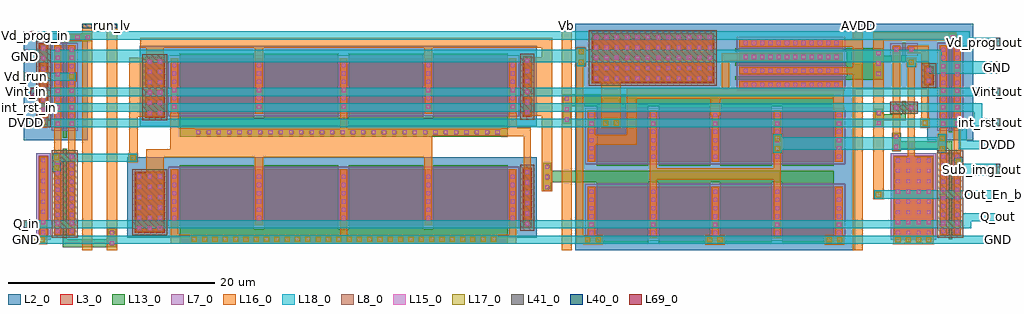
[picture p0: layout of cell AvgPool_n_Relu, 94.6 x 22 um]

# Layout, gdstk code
from math import pi, radians
import gdstk
lib = gdstk.Library(unit=1e-6, precision=1e-09)
def R(c, l, rs):  # rectangles x0, y0, x1, y1
    for r in rs: c.add(gdstk.rectangle(r[:2], r[2:], *l))
def A(c, l, x, y, w, h, nx, ny, dx, dy):  # array of equal rectangles
    R(c, l, [(x+i*dx, y+j*dy, x+i*dx+w, y+j*dy+h) for i in range(nx) for j in range(ny)])
L2_0 = (2, 0)
L3_0 = (3, 0)
L7_0 = (7, 0)
L8_0 = (8, 0)
L13_0 = (13, 0)
L15_0 = (15, 0)
L16_0 = (16, 0)
L17_0 = (17, 0)
L18_0 = (18, 0)
L40_0 = (40, 0)
L41_0 = (41, 0)
L69_0 = (69, 0)

pch_cdns_761096720690 = lib.new_cell('pch_CDNS_761096720690')
R(pch_cdns_761096720690, L2_0, [(-2.05,-1.2,2.4,9.2)])
R(pch_cdns_761096720690, L3_0, [(-0.85,0,-0.15,8), (-0.85,0,-0.15,8), (-0.15,0,0.5,8), (0.5,0,1.2,8), (0.5,0,1.2,8)])
R(pch_cdns_761096720690, L7_0, [(-1.1,-0.25,1.45,8.25)])
R(pch_cdns_761096720690, L13_0, [(0,-0.4,0.35,8.4)])
A(pch_cdns_761096720690, L15_0, -0.7, 0.2, 0.4, 0.4, 1, 10, 0, 0.8)
A(pch_cdns_761096720690, L15_0, 0.65, 0.2, 0.4, 0.4, 1, 10, 0, 0.8)
R(pch_cdns_761096720690, L16_0, [(-0.85,0,-0.15,8), (0.5,0,1.2,8)])
pch_cdns_761096720690.add(gdstk.Label('D', (0.85,4), layer=59, texttype=0))
pch_cdns_761096720690.add(gdstk.Label('S', (-0.5,4), layer=59, texttype=0))
pch_cdns_761096720690.add(gdstk.Label('G', (0.175,4), layer=59, texttype=0))
pch_cdns_761096720690.add(gdstk.Label('& SerialNumber 000000', (0,0), layer=16, texttype=0))
pch_cdns_761096720690.add(gdstk.Label('& Distributor VIS', (0,0), layer=16, texttype=0))
pch_cdns_761096720690.add(gdstk.Label('& Metric 1', (0,0), layer=16, texttype=0))
pch_cdns_761096720690.add(gdstk.Label('& Version    \t  1.7A', (0,0), layer=16, texttype=0))
pch_cdns_761096720690.add(gdstk.Label('& PDKName     vis35cv', (0,0), layer=16, texttype=0))
pch_cdns_761096720690.add(gdstk.Label('& Vendor VIS Corp.', (0,0), layer=16, texttype=0))
pch_cdns_761096720690.add(gdstk.Label('& SerialNumber 000000', (0,0), layer=63, texttype=63))
pch_cdns_761096720690.add(gdstk.Label('& Distributor VIS', (0,0), layer=63, texttype=63))
pch_cdns_761096720690.add(gdstk.Label('& Metric 1', (0,0), layer=63, texttype=63))
pch_cdns_761096720690.add(gdstk.Label('& Version    \t  1.7A', (0,0), layer=63, texttype=63))
pch_cdns_761096720690.add(gdstk.Label('& PDKName     vis35cv', (0,0), layer=63, texttype=63))
pch_cdns_761096720690.add(gdstk.Label('& Vendor VIS Corp.', (0,0), layer=63, texttype=63))

nch_cdns_761096720691 = lib.new_cell('nch_CDNS_761096720691')
R(nch_cdns_761096720691, L3_0, [(-0.9,-0.12,-0.2,0.58), (0.55,-0.12,1.25,0.58), (-0.9,0,-0.2,0.46), (-0.2,0,0.55,0.46), (0.55,0,1.25,0.46)])
R(nch_cdns_761096720691, L8_0, [(-1.15,-0.37,1.5,0.83)])
R(nch_cdns_761096720691, L13_0, [(0,-0.4,0.35,0.86)])
R(nch_cdns_761096720691, L15_0, [(-0.75,0.03,-0.35,0.43), (0.7,0.03,1.1,0.43)])
R(nch_cdns_761096720691, L16_0, [(-0.9,-0.12,-0.2,0.58), (0.55,-0.12,1.25,0.58)])
nch_cdns_761096720691.add(gdstk.Label('D', (0.9,0.23), layer=59, texttype=0))
nch_cdns_761096720691.add(gdstk.Label('S', (-0.55,0.23), layer=59, texttype=0))
nch_cdns_761096720691.add(gdstk.Label('G', (0.175,0.23), layer=59, texttype=0))
nch_cdns_761096720691.add(gdstk.Label('& SerialNumber 000000', (0,0), layer=16, texttype=0))
nch_cdns_761096720691.add(gdstk.Label('& Distributor VIS', (0,0), layer=16, texttype=0))
nch_cdns_761096720691.add(gdstk.Label('& Metric 1', (0,0), layer=16, texttype=0))
nch_cdns_761096720691.add(gdstk.Label('& Version    \t  1.7A', (0,0), layer=16, texttype=0))
nch_cdns_761096720691.add(gdstk.Label('& PDKName     vis35cv', (0,0), layer=16, texttype=0))
nch_cdns_761096720691.add(gdstk.Label('& Vendor VIS Corp.', (0,0), layer=16, texttype=0))
nch_cdns_761096720691.add(gdstk.Label('& SerialNumber 000000', (0,0), layer=63, texttype=63))
nch_cdns_761096720691.add(gdstk.Label('& Distributor VIS', (0,0), layer=63, texttype=63))
nch_cdns_761096720691.add(gdstk.Label('& Metric 1', (0,0), layer=63, texttype=63))
nch_cdns_761096720691.add(gdstk.Label('& Version    \t  1.7A', (0,0), layer=63, texttype=63))
nch_cdns_761096720691.add(gdstk.Label('& PDKName     vis35cv', (0,0), layer=63, texttype=63))
nch_cdns_761096720691.add(gdstk.Label('& Vendor VIS Corp.', (0,0), layer=63, texttype=63))

pch_cdns_761096720692 = lib.new_cell('pch_CDNS_761096720692')
R(pch_cdns_761096720692, L2_0, [(-2.05,-1.2,5.1,11.2)])
A(pch_cdns_761096720692, L3_0, -0.85, 0, 0.7, 10, 4, 1, 1.35, 0)
A(pch_cdns_761096720692, L3_0, -0.15, 0, 0.65, 10, 3, 1, 1.35, 0)
R(pch_cdns_761096720692, L3_0, [(-0.85,0,-0.15,10), (3.2,0,3.9,10)])
R(pch_cdns_761096720692, L7_0, [(-1.1,-0.25,4.15,10.25)])
A(pch_cdns_761096720692, L13_0, 0, -0.4, 0.35, 10.8, 3, 1, 1.35, 0)
A(pch_cdns_761096720692, L15_0, -0.7, 0.4, 0.4, 0.4, 4, 12, 1.35, 0.8)
A(pch_cdns_761096720692, L16_0, -0.85, 0, 0.7, 10, 4, 1, 1.35, 0)
pch_cdns_761096720692.add(gdstk.Label('D', (0.85,5), layer=59, texttype=0))
pch_cdns_761096720692.add(gdstk.Label('D', (3.55,5), layer=59, texttype=0))
pch_cdns_761096720692.add(gdstk.Label('S', (2.2,5), layer=59, texttype=0))
pch_cdns_761096720692.add(gdstk.Label('S', (-0.5,5), layer=59, texttype=0))
pch_cdns_761096720692.add(gdstk.Label('G', (2.875,5), layer=59, texttype=0))
pch_cdns_761096720692.add(gdstk.Label('G', (1.525,5), layer=59, texttype=0))
pch_cdns_761096720692.add(gdstk.Label('G', (0.175,5), layer=59, texttype=0))
pch_cdns_761096720692.add(gdstk.Label('& SerialNumber 000000', (0,0), layer=16, texttype=0))
pch_cdns_761096720692.add(gdstk.Label('& Distributor VIS', (0,0), layer=16, texttype=0))
pch_cdns_761096720692.add(gdstk.Label('& Metric 1', (0,0), layer=16, texttype=0))
pch_cdns_761096720692.add(gdstk.Label('& Version    \t  1.7A', (0,0), layer=16, texttype=0))
pch_cdns_761096720692.add(gdstk.Label('& PDKName     vis35cv', (0,0), layer=16, texttype=0))
pch_cdns_761096720692.add(gdstk.Label('& Vendor VIS Corp.', (0,0), layer=16, texttype=0))
pch_cdns_761096720692.add(gdstk.Label('& SerialNumber 000000', (0,0), layer=63, texttype=63))
pch_cdns_761096720692.add(gdstk.Label('& Distributor VIS', (0,0), layer=63, texttype=63))
pch_cdns_761096720692.add(gdstk.Label('& Metric 1', (0,0), layer=63, texttype=63))
pch_cdns_761096720692.add(gdstk.Label('& Version    \t  1.7A', (0,0), layer=63, texttype=63))
pch_cdns_761096720692.add(gdstk.Label('& PDKName     vis35cv', (0,0), layer=63, texttype=63))
pch_cdns_761096720692.add(gdstk.Label('& Vendor VIS Corp.', (0,0), layer=63, texttype=63))

pch_cdns_761096720693 = lib.new_cell('pch_CDNS_761096720693')
R(pch_cdns_761096720693, L2_0, [(-2.05,-1.2,25.05,6.2)])
A(pch_cdns_761096720693, L3_0, -0.85, 0, 0.7, 5, 5, 1, 6, 0)
A(pch_cdns_761096720693, L3_0, -0.15, 0, 5.3, 5, 4, 1, 6, 0)
R(pch_cdns_761096720693, L3_0, [(-0.85,0,-0.15,5), (23.15,0,23.85,5)])
R(pch_cdns_761096720693, L7_0, [(-1.1,-0.25,24.1,5.25)])
A(pch_cdns_761096720693, L13_0, 0, -0.4, 5, 5.8, 4, 1, 6, 0)
A(pch_cdns_761096720693, L15_0, -0.7, 0.3, 0.4, 0.4, 5, 6, 6, 0.8)
A(pch_cdns_761096720693, L16_0, -0.85, 0, 0.7, 5, 5, 1, 6, 0)
pch_cdns_761096720693.add(gdstk.Label('D', (17.5,2.5), layer=59, texttype=0))
pch_cdns_761096720693.add(gdstk.Label('D', (5.5,2.5), layer=59, texttype=0))
pch_cdns_761096720693.add(gdstk.Label('S', (11.5,2.5), layer=59, texttype=0))
pch_cdns_761096720693.add(gdstk.Label('S', (-0.5,2.5), layer=59, texttype=0))
pch_cdns_761096720693.add(gdstk.Label('S', (23.5,2.5), layer=59, texttype=0))
pch_cdns_761096720693.add(gdstk.Label('G', (20.5,2.5), layer=59, texttype=0))
pch_cdns_761096720693.add(gdstk.Label('G', (14.5,2.5), layer=59, texttype=0))
pch_cdns_761096720693.add(gdstk.Label('G', (8.5,2.5), layer=59, texttype=0))
pch_cdns_761096720693.add(gdstk.Label('G', (2.5,2.5), layer=59, texttype=0))
pch_cdns_761096720693.add(gdstk.Label('& SerialNumber 000000', (0,0), layer=16, texttype=0))
pch_cdns_761096720693.add(gdstk.Label('& Distributor VIS', (0,0), layer=16, texttype=0))
pch_cdns_761096720693.add(gdstk.Label('& Metric 1', (0,0), layer=16, texttype=0))
pch_cdns_761096720693.add(gdstk.Label('& Version    \t  1.7A', (0,0), layer=16, texttype=0))
pch_cdns_761096720693.add(gdstk.Label('& PDKName     vis35cv', (0,0), layer=16, texttype=0))
pch_cdns_761096720693.add(gdstk.Label('& Vendor VIS Corp.', (0,0), layer=16, texttype=0))
pch_cdns_761096720693.add(gdstk.Label('& SerialNumber 000000', (0,0), layer=63, texttype=63))
pch_cdns_761096720693.add(gdstk.Label('& Distributor VIS', (0,0), layer=63, texttype=63))
pch_cdns_761096720693.add(gdstk.Label('& Metric 1', (0,0), layer=63, texttype=63))
pch_cdns_761096720693.add(gdstk.Label('& Version    \t  1.7A', (0,0), layer=63, texttype=63))
pch_cdns_761096720693.add(gdstk.Label('& PDKName     vis35cv', (0,0), layer=63, texttype=63))
pch_cdns_761096720693.add(gdstk.Label('& Vendor VIS Corp.', (0,0), layer=63, texttype=63))

pch_cdns_761096720694 = lib.new_cell('pch_CDNS_761096720694')
R(pch_cdns_761096720694, L2_0, [(-2.1,-1.32,2.45,1.78)])
R(pch_cdns_761096720694, L3_0, [(-0.9,-0.12,-0.2,0.58), (0.55,-0.12,1.25,0.58), (-0.9,0,-0.2,0.46), (-0.2,0,0.55,0.46), (0.55,0,1.25,0.46)])
R(pch_cdns_761096720694, L7_0, [(-1.15,-0.37,1.5,0.83)])
R(pch_cdns_761096720694, L13_0, [(0,-0.4,0.35,0.86)])
R(pch_cdns_761096720694, L15_0, [(-0.75,0.03,-0.35,0.43), (0.7,0.03,1.1,0.43)])
R(pch_cdns_761096720694, L16_0, [(-0.9,-0.12,-0.2,0.58), (0.55,-0.12,1.25,0.58)])
pch_cdns_761096720694.add(gdstk.Label('D', (0.9,0.23), layer=59, texttype=0))
pch_cdns_761096720694.add(gdstk.Label('S', (-0.55,0.23), layer=59, texttype=0))
pch_cdns_761096720694.add(gdstk.Label('G', (0.175,0.23), layer=59, texttype=0))
pch_cdns_761096720694.add(gdstk.Label('& SerialNumber 000000', (0,0), layer=16, texttype=0))
pch_cdns_761096720694.add(gdstk.Label('& Distributor VIS', (0,0), layer=16, texttype=0))
pch_cdns_761096720694.add(gdstk.Label('& Metric 1', (0,0), layer=16, texttype=0))
pch_cdns_761096720694.add(gdstk.Label('& Version    \t  1.7A', (0,0), layer=16, texttype=0))
pch_cdns_761096720694.add(gdstk.Label('& PDKName     vis35cv', (0,0), layer=16, texttype=0))
pch_cdns_761096720694.add(gdstk.Label('& Vendor VIS Corp.', (0,0), layer=16, texttype=0))
pch_cdns_761096720694.add(gdstk.Label('& SerialNumber 000000', (0,0), layer=63, texttype=63))
pch_cdns_761096720694.add(gdstk.Label('& Distributor VIS', (0,0), layer=63, texttype=63))
pch_cdns_761096720694.add(gdstk.Label('& Metric 1', (0,0), layer=63, texttype=63))
pch_cdns_761096720694.add(gdstk.Label('& Version    \t  1.7A', (0,0), layer=63, texttype=63))
pch_cdns_761096720694.add(gdstk.Label('& PDKName     vis35cv', (0,0), layer=63, texttype=63))
pch_cdns_761096720694.add(gdstk.Label('& Vendor VIS Corp.', (0,0), layer=63, texttype=63))

nch_cdns_761096720695 = lib.new_cell('nch_CDNS_761096720695')
R(nch_cdns_761096720695, L3_0, [(-0.85,0,-0.15,8), (-0.85,0,-0.15,8), (-0.15,0,0.5,8), (0.5,0,1.2,8), (0.5,0,1.2,8)])
R(nch_cdns_761096720695, L8_0, [(-1.1,-0.25,1.45,8.25)])
R(nch_cdns_761096720695, L13_0, [(0,-0.4,0.35,8.4)])
A(nch_cdns_761096720695, L15_0, -0.7, 0.2, 0.4, 0.4, 1, 10, 0, 0.8)
A(nch_cdns_761096720695, L15_0, 0.65, 0.2, 0.4, 0.4, 1, 10, 0, 0.8)
R(nch_cdns_761096720695, L16_0, [(-0.85,0,-0.15,8), (0.5,0,1.2,8)])
nch_cdns_761096720695.add(gdstk.Label('D', (0.85,4), layer=59, texttype=0))
nch_cdns_761096720695.add(gdstk.Label('S', (-0.5,4), layer=59, texttype=0))
nch_cdns_761096720695.add(gdstk.Label('G', (0.175,4), layer=59, texttype=0))
nch_cdns_761096720695.add(gdstk.Label('& SerialNumber 000000', (0,0), layer=16, texttype=0))
nch_cdns_761096720695.add(gdstk.Label('& Distributor VIS', (0,0), layer=16, texttype=0))
nch_cdns_761096720695.add(gdstk.Label('& Metric 1', (0,0), layer=16, texttype=0))
nch_cdns_761096720695.add(gdstk.Label('& Version    \t  1.7A', (0,0), layer=16, texttype=0))
nch_cdns_761096720695.add(gdstk.Label('& PDKName     vis35cv', (0,0), layer=16, texttype=0))
nch_cdns_761096720695.add(gdstk.Label('& Vendor VIS Corp.', (0,0), layer=16, texttype=0))
nch_cdns_761096720695.add(gdstk.Label('& SerialNumber 000000', (0,0), layer=63, texttype=63))
nch_cdns_761096720695.add(gdstk.Label('& Distributor VIS', (0,0), layer=63, texttype=63))
nch_cdns_761096720695.add(gdstk.Label('& Metric 1', (0,0), layer=63, texttype=63))
nch_cdns_761096720695.add(gdstk.Label('& Version    \t  1.7A', (0,0), layer=63, texttype=63))
nch_cdns_761096720695.add(gdstk.Label('& PDKName     vis35cv', (0,0), layer=63, texttype=63))
nch_cdns_761096720695.add(gdstk.Label('& Vendor VIS Corp.', (0,0), layer=63, texttype=63))

pch_cdns_761096720696 = lib.new_cell('pch_CDNS_761096720696')
R(pch_cdns_761096720696, L2_0, [(-2.05,-1.2,33.85,6.6)])
A(pch_cdns_761096720696, L3_0, -0.85, 0, 0.7, 5.4, 5, 1, 8.2, 0)
A(pch_cdns_761096720696, L3_0, -0.15, 0, 7.5, 5.4, 4, 1, 8.2, 0)
R(pch_cdns_761096720696, L3_0, [(-0.85,0,-0.15,5.4), (31.95,0,32.65,5.4)])
R(pch_cdns_761096720696, L7_0, [(-1.1,-0.25,32.9,5.65)])
A(pch_cdns_761096720696, L13_0, 0, -0.4, 7.2, 6.2, 4, 1, 8.2, 0)
A(pch_cdns_761096720696, L15_0, -0.7, 0.5, 0.4, 0.4, 5, 6, 8.2, 0.8)
A(pch_cdns_761096720696, L16_0, -0.85, 0, 0.7, 5.4, 5, 1, 8.2, 0)
pch_cdns_761096720696.add(gdstk.Label('D', (24.1,2.7), layer=59, texttype=0))
pch_cdns_761096720696.add(gdstk.Label('D', (7.7,2.7), layer=59, texttype=0))
pch_cdns_761096720696.add(gdstk.Label('S', (15.9,2.7), layer=59, texttype=0))
pch_cdns_761096720696.add(gdstk.Label('S', (-0.5,2.7), layer=59, texttype=0))
pch_cdns_761096720696.add(gdstk.Label('S', (32.3,2.7), layer=59, texttype=0))
pch_cdns_761096720696.add(gdstk.Label('G', (28.2,2.7), layer=59, texttype=0))
pch_cdns_761096720696.add(gdstk.Label('G', (20,2.7), layer=59, texttype=0))
pch_cdns_761096720696.add(gdstk.Label('G', (11.8,2.7), layer=59, texttype=0))
pch_cdns_761096720696.add(gdstk.Label('G', (3.6,2.7), layer=59, texttype=0))
pch_cdns_761096720696.add(gdstk.Label('& SerialNumber 000000', (0,0), layer=16, texttype=0))
pch_cdns_761096720696.add(gdstk.Label('& Distributor VIS', (0,0), layer=16, texttype=0))
pch_cdns_761096720696.add(gdstk.Label('& Metric 1', (0,0), layer=16, texttype=0))
pch_cdns_761096720696.add(gdstk.Label('& Version    \t  1.7A', (0,0), layer=16, texttype=0))
pch_cdns_761096720696.add(gdstk.Label('& PDKName     vis35cv', (0,0), layer=16, texttype=0))
pch_cdns_761096720696.add(gdstk.Label('& Vendor VIS Corp.', (0,0), layer=16, texttype=0))
pch_cdns_761096720696.add(gdstk.Label('& SerialNumber 000000', (0,0), layer=63, texttype=63))
pch_cdns_761096720696.add(gdstk.Label('& Distributor VIS', (0,0), layer=63, texttype=63))
pch_cdns_761096720696.add(gdstk.Label('& Metric 1', (0,0), layer=63, texttype=63))
pch_cdns_761096720696.add(gdstk.Label('& Version    \t  1.7A', (0,0), layer=63, texttype=63))
pch_cdns_761096720696.add(gdstk.Label('& PDKName     vis35cv', (0,0), layer=63, texttype=63))
pch_cdns_761096720696.add(gdstk.Label('& Vendor VIS Corp.', (0,0), layer=63, texttype=63))

m2_m1_cdns_761096720690 = lib.new_cell('M2_M1_CDNS_761096720690')
R(m2_m1_cdns_761096720690, L16_0, [(-0.45,-0.45,0.45,0.45)])
R(m2_m1_cdns_761096720690, L17_0, [(-0.25,-0.25,0.25,0.25)])
R(m2_m1_cdns_761096720690, L18_0, [(-0.4,-0.4,0.4,0.4)])

m1_poly1_cdns_7610967206 = lib.new_cell('M1_POLY1_CDNS_761096720691')
R(m1_poly1_cdns_7610967206, L13_0, [(-0.4,-0.4,0.4,0.4)])
R(m1_poly1_cdns_7610967206, L15_0, [(-0.2,-0.2,0.2,0.2)])
R(m1_poly1_cdns_7610967206, L16_0, [(-0.35,-0.35,0.35,0.35)])

m1_pactive_cdns_76109672 = lib.new_cell('M1_PACTIVE_CDNS_761096720692')
R(m1_pactive_cdns_76109672, L3_0, [(-0.45,-3.95,0.45,3.95)])
R(m1_pactive_cdns_76109672, L7_0, [(-0.7,-4.2,0.7,4.2)])
A(m1_pactive_cdns_76109672, L15_0, -0.2, -3.7, 0.4, 0.4, 1, 8, 0, 1)
R(m1_pactive_cdns_76109672, L16_0, [(-0.35,-3.85,0.35,3.85)])

m2_m1_cdns_761096720693 = lib.new_cell('M2_M1_CDNS_761096720693')
R(m2_m1_cdns_761096720693, L16_0, [(-0.45,-0.95,0.45,0.95)])
R(m2_m1_cdns_761096720693, L17_0, [(-0.25,-0.75,0.25,-0.25), (-0.25,0.25,0.25,0.75)])
R(m2_m1_cdns_761096720693, L18_0, [(-0.4,-0.9,0.4,0.9)])

c_m1_poly1_cdns_7610967206 = lib.new_cell('M1_POLY1_CDNS_761096720694')
R(c_m1_poly1_cdns_7610967206, L13_0, [(-14.9,-0.4,14.9,0.4)])
A(c_m1_poly1_cdns_7610967206, L15_0, -14.7, -0.2, 0.4, 0.4, 30, 1, 1, 0)
R(c_m1_poly1_cdns_7610967206, L16_0, [(-14.85,-0.35,14.85,0.35)])

m1_nactive_cdns_76109672 = lib.new_cell('M1_NACTIVE_CDNS_761096720695')
R(m1_nactive_cdns_76109672, L3_0, [(-0.95,-2.95,0.95,2.95)])
R(m1_nactive_cdns_76109672, L8_0, [(-1.2,-3.2,1.2,3.2)])
A(m1_nactive_cdns_76109672, L15_0, -0.7, -2.7, 0.4, 0.4, 1, 6, 0, 1)
A(m1_nactive_cdns_76109672, L15_0, 0.3, -2.7, 0.4, 0.4, 1, 6, 0, 1)
R(m1_nactive_cdns_76109672, L16_0, [(-0.85,-2.85,0.85,2.85)])

m2_m1_cdns_761096720696 = lib.new_cell('M2_M1_CDNS_761096720696')
R(m2_m1_cdns_761096720696, L16_0, [(-14.95,-0.45,14.95,0.45)])
A(m2_m1_cdns_761096720696, L17_0, -14.75, -0.25, 0.5, 0.5, 30, 1, 1, 0)
R(m2_m1_cdns_761096720696, L18_0, [(-14.9,-0.4,14.9,0.4)])

c_m1_poly1_cdns_7610967206_ = lib.new_cell('M1_POLY1_CDNS_761096720697')
R(c_m1_poly1_cdns_7610967206_, L13_0, [(-14.9,-0.4,14.9,0.4)])
A(c_m1_poly1_cdns_7610967206_, L15_0, -14.7, -0.2, 0.4, 0.4, 30, 1, 1, 0)
R(c_m1_poly1_cdns_7610967206_, L16_0, [(-14.95,-0.45,14.95,0.45)])

c_m1_poly1_cdns_7610967206__ = lib.new_cell('M1_POLY1_CDNS_761096720698')
R(c_m1_poly1_cdns_7610967206__, L13_0, [(-0.4,-1.4,0.4,1.4)])
A(c_m1_poly1_cdns_7610967206__, L15_0, -0.2, -1.2, 0.4, 0.4, 1, 3, 0, 1)
R(c_m1_poly1_cdns_7610967206__, L16_0, [(-0.35,-1.35,0.35,1.35)])

m2_m1_cdns_761096720699 = lib.new_cell('M2_M1_CDNS_761096720699')
R(m2_m1_cdns_761096720699, L16_0, [(-0.95,-0.45,0.95,0.45)])
R(m2_m1_cdns_761096720699, L17_0, [(-0.75,-0.25,-0.25,0.25), (0.25,-0.25,0.75,0.25)])
R(m2_m1_cdns_761096720699, L18_0, [(-0.9,-0.4,0.9,0.4)])

c_m1_poly1_cdns_7610967206___ = lib.new_cell('M1_POLY1_CDNS_7610967206910')
R(c_m1_poly1_cdns_7610967206___, L13_0, [(-0.4,-0.9,0.4,0.9)])
R(c_m1_poly1_cdns_7610967206___, L15_0, [(-0.2,-0.7,0.2,-0.3), (-0.2,0.3,0.2,0.7)])
R(c_m1_poly1_cdns_7610967206___, L16_0, [(-0.35,-0.85,0.35,0.85)])

c_m1_pactive_cdns_76109672 = lib.new_cell('M1_PACTIVE_CDNS_7610967206911')
R(c_m1_pactive_cdns_76109672, L3_0, [(-1.95,-3.95,1.95,3.95)])
R(c_m1_pactive_cdns_76109672, L7_0, [(-2.2,-4.2,2.2,4.2)])
A(c_m1_pactive_cdns_76109672, L15_0, -1.7, -3.7, 0.4, 0.4, 4, 8, 1, 1)
R(c_m1_pactive_cdns_76109672, L16_0, [(-1.85,-3.85,1.85,3.85)])

c_m1_nactive_cdns_76109672 = lib.new_cell('M1_NACTIVE_CDNS_7610967206912')
R(c_m1_nactive_cdns_76109672, L3_0, [(-0.45,-3.95,0.45,3.95)])
R(c_m1_nactive_cdns_76109672, L8_0, [(-0.7,-4.2,0.7,4.2)])
A(c_m1_nactive_cdns_76109672, L15_0, -0.2, -3.7, 0.4, 0.4, 1, 8, 0, 1)
R(c_m1_nactive_cdns_76109672, L16_0, [(-0.35,-3.85,0.35,3.85)])

c_m1_poly1_cdns_7610967206____ = lib.new_cell('M1_POLY1_CDNS_7610967206913')
R(c_m1_poly1_cdns_7610967206____, L13_0, [(-1.4,-0.4,1.4,0.4)])
A(c_m1_poly1_cdns_7610967206____, L15_0, -1.2, -0.2, 0.4, 0.4, 3, 1, 1, 0)
R(c_m1_poly1_cdns_7610967206____, L16_0, [(-1.35,-0.35,1.35,0.35)])

c_m1_nactive_cdns_76109672_ = lib.new_cell('M1_NACTIVE_CDNS_7610967206914')
R(c_m1_nactive_cdns_76109672_, L3_0, [(-5.95,-2.45,5.95,2.45)])
R(c_m1_nactive_cdns_76109672_, L8_0, [(-6.2,-2.7,6.2,2.7)])
A(c_m1_nactive_cdns_76109672_, L15_0, -5.7, -2.2, 0.4, 0.4, 12, 5, 1, 1)
R(c_m1_nactive_cdns_76109672_, L16_0, [(-5.85,-2.35,5.85,2.35)])

c_m1_nactive_cdns_76109672__ = lib.new_cell('M1_NACTIVE_CDNS_7610967206915')
R(c_m1_nactive_cdns_76109672__, L3_0, [(-0.45,-2.95,0.45,2.95)])
R(c_m1_nactive_cdns_76109672__, L8_0, [(-0.7,-3.2,0.7,3.2)])
A(c_m1_nactive_cdns_76109672__, L15_0, -0.2, -2.7, 0.4, 0.4, 1, 6, 0, 1)
R(c_m1_nactive_cdns_76109672__, L16_0, [(-0.35,-2.85,0.35,2.85)])

m2_m1_cdns_7610967206916 = lib.new_cell('M2_M1_CDNS_7610967206916')
R(m2_m1_cdns_7610967206916, L16_0, [(-1.95,-0.45,1.95,0.45)])
A(m2_m1_cdns_7610967206916, L17_0, -1.75, -0.25, 0.5, 0.5, 4, 1, 1, 0)
R(m2_m1_cdns_7610967206916, L18_0, [(-1.9,-0.4,1.9,0.4)])

c_m1_nactive_cdns_76109672___ = lib.new_cell('M1_NACTIVE_CDNS_7610967206917')
R(c_m1_nactive_cdns_76109672___, L3_0, [(-1.45,-2.95,1.45,2.95)])
R(c_m1_nactive_cdns_76109672___, L8_0, [(-1.7,-3.2,1.7,3.2)])
A(c_m1_nactive_cdns_76109672___, L15_0, -1.2, -2.7, 0.4, 0.4, 3, 6, 1, 1)
R(c_m1_nactive_cdns_76109672___, L16_0, [(-1.35,-2.85,1.35,2.85)])

c_m1_nactive_cdns_76109672____ = lib.new_cell('M1_NACTIVE_CDNS_7610967206918')
R(c_m1_nactive_cdns_76109672____, L3_0, [(-0.45,-0.95,0.45,0.95)])
R(c_m1_nactive_cdns_76109672____, L8_0, [(-0.7,-1.2,0.7,1.2)])
R(c_m1_nactive_cdns_76109672____, L15_0, [(-0.2,-0.7,0.2,-0.3), (-0.2,0.3,0.2,0.7)])
R(c_m1_nactive_cdns_76109672____, L16_0, [(-0.35,-0.85,0.35,0.85)])

avgpool_n_relu = lib.new_cell('AvgPool_n_Relu')
R(avgpool_n_relu, L2_0, [(10.03,1.25,13.03,9.05), (48.93,1.25,49.7,9.05), (0,10.67,1.73,21.07), (11.23,12.05,13.03,19.85), (48.93,12.05,49.7,19.85), (53.45,14.8,68.15,21.66), (80.55,15.63,92.01,22), (53.45,21.66,80.55,22)])
R(avgpool_n_relu, L13_0, [(3.78,0.31,8.92,1.07), (15.08,0.64,46.88,2.05), (50.81,6.6,78.49,7.75), (84.21,9.87,89.96,10.6), (3.78,10.91,4.13,11.47), (15.08,11.04,46.88,12.85), (83.22,12.63,85.46,13.2), (52.22,14,78.49,15.15), (79.75,16.56,83.3,19.61), (83.3,18.29,85.46,18.86)])
R(avgpool_n_relu, L16_0, [(14.26,0.64,16.06,1.54), (45.96,0.64,47.73,1.54), (53.55,0.64,54.2,19.16), (60.99,6.85,72.96,7.95), (11.83,7.32,13.53,9.21), (48.43,7.88,49.13,11.53), (14.18,9.83,39.58,11.12), (47.78,11.07,49.13,11.92), (55.94,12.8,57.84,16.36), (10.21,12.97,11.83,18.66), (49.13,13.04,50.2,18.74), (11.83,18.66,13.53,19.73)])
R(avgpool_n_relu, L40_0, [(5.63,21.53,6.63,22), (8.03,21.53,9.03,22), (52.1,21.53,53.1,22), (80.32,21.53,81.32,22)])
A(avgpool_n_relu, L41_0, 94.23, 0.63, 0.37, 0.8, 1, 3, 0, 2.2)
A(avgpool_n_relu, L41_0, 0, 11.95, 0.37, 0.8, 1, 4, 0, 1.5)
R(avgpool_n_relu, L41_0, [(0,0.63,0.37,1.43), (0,2.15,0.37,2.95), (94.23,7.23,94.6,8.43), (94.23,9.83,94.6,10.63), (94.23,12.03,94.6,12.83), (94.23,14.95,94.6,15.75), (94.23,17.15,94.6,18.35), (0,18.25,0.37,19.45), (94.23,19.8,94.6,20.6), (0,20.43,0.37,21.23)])
R(avgpool_n_relu, L69_0, [(0.56,2.15,1.11,2.95), (0.6,13.45,1.15,14.25), (0.6,14.95,1.15,15.75), (0.6,20.43,1.15,21.23)])
avgpool_n_relu.add(gdstk.FlexPath([(86.01,8.96),(86.01,18.23)], 0.7, ends="flush", simple_path=True, layer=16, datatype=0))  # L16_0
avgpool_n_relu.add(gdstk.FlexPath([(87.32,19.49),(87.32,12.39)], 0.7, ends=(0.35, 0), simple_path=True, layer=16, datatype=0))  # L16_0
avgpool_n_relu.add(gdstk.FlexPath([(84.56,19.14),(84.56,10.22)], 0.7, ends=(0, 0.35), simple_path=True, layer=16, datatype=0))  # L16_0
avgpool_n_relu.add(gdstk.FlexPath([(90.46,11.87),(90.46,9.37)], 0.7, ends="flush", simple_path=True, layer=16, datatype=0))  # L16_0
avgpool_n_relu.add(gdstk.FlexPath([(86.36,19.49),(87.32,19.49)], 0.7, ends=(0, 0.35), simple_path=True, layer=16, datatype=0))  # L16_0
avgpool_n_relu.add(gdstk.FlexPath([(89.11,11.87),(89.11,9.37)], 0.7, ends="flush", simple_path=True, layer=16, datatype=0))  # L16_0
avgpool_n_relu.add(gdstk.FlexPath([(90.01,20.77),(82.82,20.77)], 0.8, ends=(0.35, 0.5), simple_path=True, layer=16, datatype=0))  # L16_0
avgpool_n_relu.add(gdstk.FlexPath([(82.82,21.07),(82.82,20.77)], 1, ends=(0, 0.4), simple_path=True, layer=16, datatype=0))  # L16_0
avgpool_n_relu.add(gdstk.FlexPath([(58.91,11.08),(58.91,15.21)], 1, ends=(0, 0.5), simple_path=True, layer=16, datatype=0))  # L16_0
avgpool_n_relu.add(gdstk.FlexPath([(55.21,10.73),(58.91,10.73)], 1, ends="extended", simple_path=True, layer=16, datatype=0))  # L16_0
avgpool_n_relu.add(gdstk.FlexPath([(82.82,20.77),(82.82,4.98)], 1, ends=(0.4, 0), simple_path=True, layer=16, datatype=0))  # L16_0
avgpool_n_relu.add(gdstk.FlexPath([(80.67,20.11),(79.35,20.11)], 0.7, ends=(0.35, 0), simple_path=True, layer=16, datatype=0))  # L16_0
avgpool_n_relu.add(gdstk.FlexPath([(80.67,17.41),(79.35,17.41)], 0.7, ends=(0.35, 0), simple_path=True, layer=16, datatype=0))  # L16_0
avgpool_n_relu.add(gdstk.FlexPath([(80.67,20.11),(80.67,17.41)], 0.7, ends="extended", simple_path=True, layer=16, datatype=0))  # L16_0
avgpool_n_relu.add(gdstk.FlexPath([(80.82,22),(80.82,0)], 1, ends="flush", simple_path=True, layer=16, datatype=0))  # L16_0
avgpool_n_relu.add(gdstk.FlexPath([(68,18.76),(68,15.21)], 0.7, ends=(0.35, 0.5), simple_path=True, layer=16, datatype=0))  # L16_0
avgpool_n_relu.add(gdstk.FlexPath([(69.35,18.76),(68,18.76)], 0.7, ends=(0, 0.35), simple_path=True, layer=16, datatype=0))  # L16_0
avgpool_n_relu.add(gdstk.FlexPath([(67,13.12),(67,15.21)], 1, ends=(0, 0.5), simple_path=True, layer=16, datatype=0))  # L16_0
avgpool_n_relu.add(gdstk.FlexPath([(78.95,15.21),(78.95,13.6)], 1, ends=(0.5, 0), simple_path=True, layer=16, datatype=0))  # L16_0
avgpool_n_relu.add(gdstk.FlexPath([(58.91,15.21),(78.95,15.21)], 1, ends="extended", simple_path=True, layer=16, datatype=0))  # L16_0
avgpool_n_relu.add(gdstk.FlexPath([(52.6,22),(52.6,0)], 1, ends="flush", simple_path=True, layer=16, datatype=0))  # L16_0
avgpool_n_relu.add(gdstk.FlexPath([(61,6.2),(61,8.6)], 0.7, ends="flush", simple_path=True, layer=16, datatype=0))  # L16_0
avgpool_n_relu.add(gdstk.FlexPath([(73,6.2),(73,8.6)], 0.7, ends="flush", simple_path=True, layer=16, datatype=0))  # L16_0
avgpool_n_relu.add(gdstk.FlexPath([(47.38,3.41),(47.38,0.64)], 0.7, ends="flush", simple_path=True, layer=16, datatype=0))  # L16_0
avgpool_n_relu.add(gdstk.FlexPath([(30.98,3.41),(30.98,0.64)], 0.7, ends="flush", simple_path=True, layer=16, datatype=0))  # L16_0
avgpool_n_relu.add(gdstk.FlexPath([(14.58,3.41),(14.58,0.64)], 0.7, ends="flush", simple_path=True, layer=16, datatype=0))  # L16_0
avgpool_n_relu.add(gdstk.FlexPath([(50.7,20.13),(50.7,5.72)], 1, ends=(0.5, 0), simple_path=True, layer=16, datatype=0))  # L16_0
avgpool_n_relu.add(gdstk.FlexPath([(11.26,20.13),(50.7,20.13)], 1, ends=(0, 0.5), simple_path=True, layer=16, datatype=0))  # L16_0
avgpool_n_relu.add(gdstk.FlexPath([(39.18,9.43),(11.83,9.43)], 0.8, ends=(0.4, 0), simple_path=True, layer=16, datatype=0))  # L16_0
avgpool_n_relu.add(gdstk.FlexPath([(39.18,9.43),(39.18,7.85)], 0.8, ends=(0.4, 0), simple_path=True, layer=16, datatype=0))  # L16_0
avgpool_n_relu.add(gdstk.FlexPath([(22.78,7.85),(22.78,9.43)], 0.8, ends=(0, 0.4), simple_path=True, layer=16, datatype=0))  # L16_0
avgpool_n_relu.add(gdstk.FlexPath([(10.61,8.55),(10.61,18.66)], 0.8, ends="flush", simple_path=True, layer=16, datatype=0))  # L16_0
avgpool_n_relu.add(gdstk.FlexPath([(39.18,20.13),(39.18,18.65)], 0.8, ends=(0.5, 0), simple_path=True, layer=16, datatype=0))  # L16_0
avgpool_n_relu.add(gdstk.FlexPath([(22.78,18.55),(22.78,20.13)], 0.8, ends=(0, 0.5), simple_path=True, layer=16, datatype=0))  # L16_0
avgpool_n_relu.add(gdstk.FlexPath([(30.98,13.25),(30.98,11.47)], 0.7, ends="flush", simple_path=True, layer=16, datatype=0))  # L16_0
avgpool_n_relu.add(gdstk.FlexPath([(14.58,11.47),(16.54,11.47)], 0.8, ends=(0.4, 0), simple_path=True, layer=16, datatype=0))  # L16_0
avgpool_n_relu.add(gdstk.FlexPath([(14.58,13.25),(14.58,11.47)], 0.8, ends=(0, 0.4), simple_path=True, layer=16, datatype=0))  # L16_0
avgpool_n_relu.add(gdstk.FlexPath([(47.38,11.47),(46.24,11.47)], 0.8, ends=(0.4, 0), simple_path=True, layer=16, datatype=0))  # L16_0
avgpool_n_relu.add(gdstk.FlexPath([(47.38,13.25),(47.38,11.47)], 0.8, ends=(0, 0.4), simple_path=True, layer=16, datatype=0))  # L16_0
avgpool_n_relu.add(gdstk.FlexPath([(6.13,0),(6.13,22)], 1, ends="flush", simple_path=True, layer=16, datatype=0))  # L16_0
avgpool_n_relu.add(gdstk.FlexPath([(8.53,0),(8.53,22)], 1, ends="flush", simple_path=True, layer=16, datatype=0))  # L16_0
avgpool_n_relu.add(gdstk.FlexPath([(3.28,11.87),(3.28,9.37)], 0.7, ends="flush", simple_path=True, layer=16, datatype=0))  # L16_0
avgpool_n_relu.add(gdstk.FlexPath([(4.63,11.87),(4.63,9.37)], 0.7, ends="flush", simple_path=True, layer=16, datatype=0))  # L16_0
avgpool_n_relu.add(gdstk.FlexPath([(91.26,20.2),(94.6,20.2)], 0.8, ends=(0.4, 0), simple_path=True, layer=18, datatype=0))  # L18_0
avgpool_n_relu.add(gdstk.FlexPath([(91.26,20.83),(91.26,20.2)], 0.8, ends="extended", simple_path=True, layer=18, datatype=0))  # L18_0
avgpool_n_relu.add(gdstk.FlexPath([(91.26,20.83),(0,20.83)], 0.8, ends=(0.4, 0), simple_path=True, layer=18, datatype=0))  # L18_0
avgpool_n_relu.add(gdstk.FlexPath([(92.5,13.85),(0,13.85)], 0.8, ends=(0.4, 0), simple_path=True, layer=18, datatype=0))  # L18_0
avgpool_n_relu.add(gdstk.FlexPath([(92.5,12.43),(94.6,12.43)], 0.8, ends=(0.4, 0), simple_path=True, layer=18, datatype=0))  # L18_0
avgpool_n_relu.add(gdstk.FlexPath([(73.05,10.36),(88.79,10.36)], 1.2, ends="flush", simple_path=True, layer=18, datatype=0))  # L18_0
avgpool_n_relu.add(gdstk.FlexPath([(92.5,13.85),(92.5,12.43)], 0.8, ends="extended", simple_path=True, layer=18, datatype=0))  # L18_0
avgpool_n_relu.add(gdstk.FlexPath([(88.33,17.75),(94.6,17.75)], 1.2, ends=(0.6, 0), simple_path=True, layer=18, datatype=0))  # L18_0
avgpool_n_relu.add(gdstk.FlexPath([(91.39,3.23),(94.6,3.23)], 0.8, ends=(0.4, 0), simple_path=True, layer=18, datatype=0))  # L18_0
avgpool_n_relu.add(gdstk.FlexPath([(91.39,2.55),(91.39,3.23)], 0.8, ends="extended", simple_path=True, layer=18, datatype=0))  # L18_0
avgpool_n_relu.add(gdstk.FlexPath([(90.98,12.35),(0,12.35)], 0.8, ends=(0.4, 0), simple_path=True, layer=18, datatype=0))  # L18_0
avgpool_n_relu.add(gdstk.FlexPath([(90.98,12.35),(90.98,10.23)], 0.8, ends="extended", simple_path=True, layer=18, datatype=0))  # L18_0
avgpool_n_relu.add(gdstk.FlexPath([(91.39,2.55),(0,2.55)], 0.8, ends=(0.4, 0), simple_path=True, layer=18, datatype=0))  # L18_0
avgpool_n_relu.add(gdstk.FlexPath([(90.98,10.23),(94.6,10.23)], 0.8, ends=(0.4, 0), simple_path=True, layer=18, datatype=0))  # L18_0
avgpool_n_relu.add(gdstk.FlexPath([(90.75,7.83),(94.6,7.83)], 1.2, ends="flush", simple_path=True, layer=18, datatype=0))  # L18_0
avgpool_n_relu.add(gdstk.FlexPath([(3.18,8.99),(10.56,8.99)], 0.8, ends=(0.4, 0), simple_path=True, layer=18, datatype=0))  # L18_0
avgpool_n_relu.add(gdstk.FlexPath([(3.18,8.52),(3.18,8.99)], 0.8, ends=(0, 0.4), simple_path=True, layer=18, datatype=0))  # L18_0
avgpool_n_relu.add(gdstk.FlexPath([(88.33,18.85),(88.33,17.75)], 1.2, ends="extended", simple_path=True, layer=18, datatype=0))  # L18_0
avgpool_n_relu.add(gdstk.FlexPath([(94.6,5.43),(82.43,5.43)], 0.8, ends="flush", simple_path=True, layer=18, datatype=0))  # L18_0
avgpool_n_relu.add(gdstk.FlexPath([(0,1.03),(94.6,1.03)], 0.8, ends="flush", simple_path=True, layer=18, datatype=0))  # L18_0
avgpool_n_relu.add(gdstk.FlexPath([(0,15.35),(94.6,15.35)], 0.8, ends="flush", simple_path=True, layer=18, datatype=0))  # L18_0
avgpool_n_relu.add(gdstk.FlexPath([(0,16.85),(4.24,16.85)], 0.8, ends="flush", simple_path=True, layer=18, datatype=0))  # L18_0
avgpool_n_relu.add(gdstk.FlexPath([(0,18.85),(88.33,18.85)], 1.2, ends=(0, 0.6), simple_path=True, layer=18, datatype=0))  # L18_0
r = gdstk.Reference(pch_cdns_761096720690, (89.61,11.87)); r.repetition = gdstk.Repetition(1, 1, v1=(4.45,0), v2=(0,4.4)); avgpool_n_relu.add(r)
r = gdstk.Reference(pch_cdns_761096720690, (3.78,11.87)); r.repetition = gdstk.Repetition(1, 1, v1=(4.45,0), v2=(0,4.4)); avgpool_n_relu.add(r)
r = gdstk.Reference(nch_cdns_761096720691, (85.11,13.6)); r.repetition = gdstk.Repetition(1, 1, v1=(4.45,0), v2=(0,4.4)); avgpool_n_relu.add(r)
r = gdstk.Reference(pch_cdns_761096720692, (69.35,19.61), rotation=3*pi/2); r.repetition = gdstk.Repetition(1, 1, v1=(0,-4.45), v2=(4.4,0)); avgpool_n_relu.add(r)
r = gdstk.Reference(pch_cdns_761096720693, (55.5,1.2)); r.repetition = gdstk.Repetition(1, 1, v1=(4.45,0), v2=(0,4.4)); avgpool_n_relu.add(r)
r = gdstk.Reference(pch_cdns_761096720693, (55.5,8.6)); r.repetition = gdstk.Repetition(1, 1, v1=(4.45,0), v2=(0,4.4)); avgpool_n_relu.add(r)
r = gdstk.Reference(pch_cdns_761096720694, (85.11,19.26)); r.repetition = gdstk.Repetition(1, 1, v1=(4.45,0), v2=(0,4.4)); avgpool_n_relu.add(r)
r = gdstk.Reference(nch_cdns_761096720695, (3.78,1.47)); r.repetition = gdstk.Repetition(1, 1, v1=(2.55,0), v2=(0,2.8)); avgpool_n_relu.add(r)
r = gdstk.Reference(nch_cdns_761096720695, (89.61,1.47)); r.repetition = gdstk.Repetition(1, 1, v1=(2.55,0), v2=(0,2.8)); avgpool_n_relu.add(r)
r = gdstk.Reference(pch_cdns_761096720696, (15.08,13.25)); r.repetition = gdstk.Repetition(1, 1, v1=(4.45,0), v2=(0,4.4)); avgpool_n_relu.add(r)
r = gdstk.Reference(pch_cdns_761096720696, (15.08,2.45)); r.repetition = gdstk.Repetition(1, 1, v1=(4.45,0), v2=(0,4.4)); avgpool_n_relu.add(r)
avgpool_n_relu.add(gdstk.Reference(m2_m1_cdns_761096720690, (82.83,5.43)))
avgpool_n_relu.add(gdstk.Reference(m2_m1_cdns_761096720690, (87.34,12.35)))
avgpool_n_relu.add(gdstk.Reference(m2_m1_cdns_761096720690, (86.01,18.23)))
avgpool_n_relu.add(gdstk.Reference(m2_m1_cdns_761096720690, (1.78,12.36)))
avgpool_n_relu.add(gdstk.Reference(m2_m1_cdns_761096720690, (10.56,8.99)))
avgpool_n_relu.add(gdstk.Reference(m2_m1_cdns_761096720690, (4.64,16.85)))
avgpool_n_relu.add(gdstk.Reference(m1_poly1_cdns_7610967206, (90.01,20.67), x_reflection=True))
avgpool_n_relu.add(gdstk.Reference(m1_pactive_cdns_76109672, (1.88,5.24)))
avgpool_n_relu.add(gdstk.Reference(m2_m1_cdns_761096720693, (90.56,8.13)))
avgpool_n_relu.add(gdstk.Reference(m2_m1_cdns_761096720693, (89.01,10.37)))
avgpool_n_relu.add(gdstk.Reference(m2_m1_cdns_761096720693, (73.03,10.36)))
avgpool_n_relu.add(gdstk.Reference(m2_m1_cdns_761096720693, (54,18.75)))
avgpool_n_relu.add(gdstk.Reference(m2_m1_cdns_761096720693, (3.18,8.52)))
avgpool_n_relu.add(gdstk.Reference(c_m1_poly1_cdns_7610967206, (31.39,11.47)))
avgpool_n_relu.add(gdstk.Reference(m1_nactive_cdns_76109672, (12.68,15.81)))
avgpool_n_relu.add(gdstk.Reference(m2_m1_cdns_761096720696, (31.01,1.09)))
avgpool_n_relu.add(gdstk.Reference(c_m1_poly1_cdns_7610967206_, (31.01,1.09)))
avgpool_n_relu.add(gdstk.Reference(c_m1_poly1_cdns_7610967206__, (82.82,18.13)))
avgpool_n_relu.add(gdstk.Reference(c_m1_poly1_cdns_7610967206__, (50.71,7.12)))
avgpool_n_relu.add(gdstk.Reference(c_m1_poly1_cdns_7610967206__, (52.61,13.7)))
avgpool_n_relu.add(gdstk.Reference(m2_m1_cdns_761096720699, (56.89,12.36)))
avgpool_n_relu.add(gdstk.Reference(m2_m1_cdns_761096720699, (1.28,1.04)))
avgpool_n_relu.add(gdstk.Reference(m2_m1_cdns_761096720699, (78.56,1.03)))
avgpool_n_relu.add(gdstk.Reference(m2_m1_cdns_761096720699, (66.96,1.03)))
avgpool_n_relu.add(gdstk.Reference(m2_m1_cdns_761096720699, (55.15,1.04)))
avgpool_n_relu.add(gdstk.Reference(c_m1_poly1_cdns_7610967206___, (84.56,10.53)))
avgpool_n_relu.add(gdstk.Reference(c_m1_poly1_cdns_7610967206___, (82.84,12.83)))
avgpool_n_relu.add(gdstk.Reference(c_m1_poly1_cdns_7610967206___, (8.53,1.21)))
avgpool_n_relu.add(gdstk.Reference(c_m1_pactive_cdns_76109672, (86.21,5.22)))
avgpool_n_relu.add(gdstk.Reference(c_m1_nactive_cdns_76109672, (1.88,16.13)))
avgpool_n_relu.add(gdstk.Reference(c_m1_poly1_cdns_7610967206____, (5.18,20.67), x_reflection=True))
avgpool_n_relu.add(gdstk.Reference(c_m1_nactive_cdns_76109672_, (60.96,18.67)))
avgpool_n_relu.add(gdstk.Reference(c_m1_nactive_cdns_76109672__, (48.78,15.89)))
avgpool_n_relu.add(gdstk.Reference(c_m1_nactive_cdns_76109672__, (48.78,5.09)))
avgpool_n_relu.add(gdstk.Reference(m2_m1_cdns_7610967206916, (86.21,1.04)))
avgpool_n_relu.add(gdstk.Reference(c_m1_nactive_cdns_76109672___, (12.18,4.67)))
avgpool_n_relu.add(gdstk.Reference(c_m1_nactive_cdns_76109672____, (87.71,16.96)))
avgpool_n_relu.add(gdstk.Label('Sub_img_out', (94.32,7.88), layer=41, texttype=0))
avgpool_n_relu.add(gdstk.Label('Out_En_b', (94.39,5.45), layer=41, texttype=0))
avgpool_n_relu.add(gdstk.Label('Vd_prog_out', (94.37,20.12), layer=41, texttype=0))
avgpool_n_relu.add(gdstk.Label('int_rst_out', (94.41,12.45), layer=41, texttype=0))
avgpool_n_relu.add(gdstk.Label('Vint_out', (94.44,15.37), layer=41, texttype=0))
avgpool_n_relu.add(gdstk.Label('DVDD', (94.43,10.23), layer=41, texttype=0))
avgpool_n_relu.add(gdstk.Label('Q_out', (94.47,3.25), layer=41, texttype=0))
avgpool_n_relu.add(gdstk.Label('GND', (94.47,1.05), layer=41, texttype=0))
avgpool_n_relu.add(gdstk.Label('Q_in', (0.24,2.57), layer=41, texttype=0))
avgpool_n_relu.add(gdstk.Label('GND', (0.24,1.05), layer=41, texttype=0))
avgpool_n_relu.add(gdstk.Label('DVDD', (0.24,12.37), layer=41, texttype=0))
avgpool_n_relu.add(gdstk.Label('Vint_in', (0.24,15.37), layer=41, texttype=0))
avgpool_n_relu.add(gdstk.Label('int_rst_in', (0.24,13.87), layer=41, texttype=0))
avgpool_n_relu.add(gdstk.Label('Vd_prog_in', (0.24,20.85), layer=41, texttype=0))
avgpool_n_relu.add(gdstk.Label('Vd_run', (0.24,16.87), layer=41, texttype=0))
avgpool_n_relu.add(gdstk.Label('GND', (0.16,18.84), layer=41, texttype=0))
avgpool_n_relu.add(gdstk.Label('GND', (94.39,17.72), layer=41, texttype=0))
avgpool_n_relu.add(gdstk.Label('AVDD', (80.84,21.77), layer=40, texttype=0))
avgpool_n_relu.add(gdstk.Label('Vb', (52.62,21.77), layer=40, texttype=0))
avgpool_n_relu.add(gdstk.Label('run_lv', (8.55,21.77), layer=40, texttype=0))
avgpool_n_relu.add(gdstk.Label('prog_lv', (6.15,21.77), layer=40, texttype=0))

lib.write_gds('AvgPool_n_Relu.gds')
